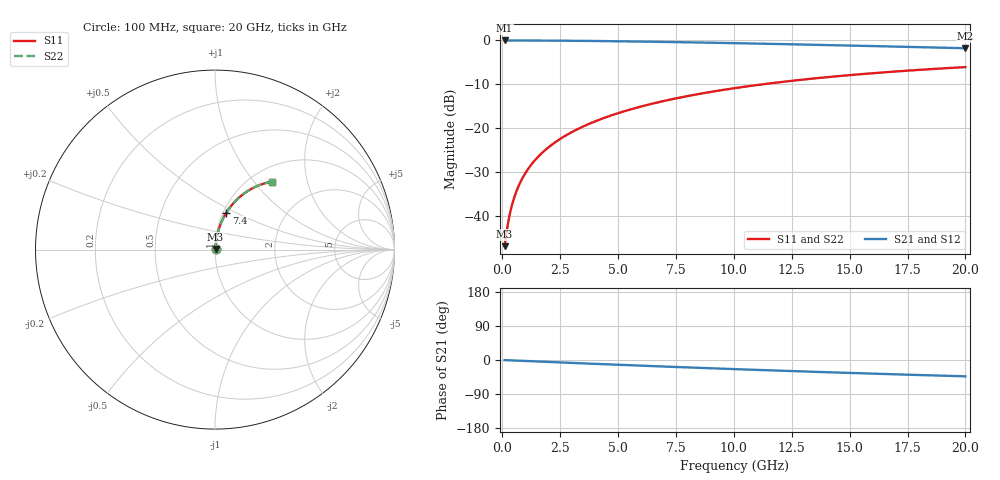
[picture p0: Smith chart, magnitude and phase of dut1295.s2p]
! Touchstone file exported from HFSS 2024.1.0
!  File:  C:/UserFiles/LocalFiles/RDL_TSV_Batchsim/temp_RDL_top_1295_1780243065.aedt
!  Generated:  12:00:11 AM Jun  1, 2026
!  Design:  RDL_top
!  Project:  temp_RDL_top_1295_1780243065
!  Setup:  Setup1
!  Solution:  Sweep
! Variables:
!  dtsv = 10.80580581um
!  hbump = 3um
!  htsv = 84.29um
!  ldown = 100um
!  lrdl = 533.82um
!  p = 40
!  p1 = 57.93um
!  rhole = 1um
!  t = 450um
!  tdown = 3.915915916um
!  trdl = 4.94um
!  wdown = 15.38538539um
!  wrdl = 11.58um
# GHz S MA R 50.000000
! Terminal data exported
! Port[1] = Box2_T1
! Port[2] = Box2_T2
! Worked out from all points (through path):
!   200 points, 100 MHz to 20 GHz, reference 50 ohm
!   highest |S21| = -0.03 dB at 100 MHz (marker M1); lowest = -1.8 dB at 20 GHz (marker M2)
!   group delay of S21, straight-line fit = 5.98 ps
!   lowest |S11| = -46.8 dB at 100 MHz (marker M3), VSWR 1.01, Z = 50.3 + j0.312 ohm
!   |S11| at or under -10 dB: start of sweep to 11.24 GHz
!   |S22| runs from -46.8 to -6.1 dB; largest |S21 - S12| = 3.3e-15
!   S11 on the Smith chart (normalised r, x): 100 MHz: 1.01, +0.01; 7.4 GHz: 1.04, +0.45; 20 GHz: 1.24, +1.25
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0.1  0.004566 42.7  0.9966 -0.3  0.9966 -0.3  0.004566 42.7
! Gamma 0 0 0 0
! Port Impedance 50 0 50 0
0.2  0.007061 61.2  0.9966 -0.5  0.9966 -0.5  0.007062 61.2
0.3  0.009906 69.4  0.9965 -0.8  0.9965 -0.8  0.009906 69.4
0.4  0.01286 73.8  0.9964 -1.0  0.9964 -1.0  0.01287 73.8
0.5  0.01587 76.4  0.9962 -1.3  0.9962 -1.3  0.01587 76.4
0.6  0.01889 78.1  0.9961 -1.6  0.9961 -1.6  0.01889 78.1
0.8  0.02495 80.1  0.9957 -2.1  0.9957 -2.1  0.02495 80.1
1.1  0.03402 81.4  0.9952 -2.8  0.9952 -2.8  0.03402 81.4
1.5  0.04601 81.9  0.9942 -3.9  0.9942 -3.9  0.04601 81.9
1.8  0.05496 81.9  0.9933 -4.6  0.9933 -4.6  0.05495 81.9
2.1  0.06386 81.8  0.9923 -5.4  0.9923 -5.4  0.06386 81.8
2.7  0.08158 81.2  0.9898 -6.9  0.9898 -6.9  0.08158 81.2
3.5  0.105 80.0  0.9857 -8.9  0.9857 -8.9  0.105 80.0
4.2  0.1254 78.9  0.9814 -10.6  0.9814 -10.6  0.1254 78.9
5  0.1485 77.5  0.9758 -12.6  0.9758 -12.6  0.1485 77.5
6.8  0.1994 74.1  0.961 -16.9  0.961 -16.9  0.1994 74.1
7.4  0.216 72.9  0.9555 -18.2  0.9555 -18.2  0.216 72.9
8.7  0.2511 70.4  0.9428 -21.2  0.9428 -21.2  0.2511 70.4
10.1  0.2876 67.7  0.9282 -24.2  0.9282 -24.2  0.2876 67.7
13.4  0.3672 61.3  0.891 -31.0  0.891 -31.0  0.3672 61.4
16.7  0.4368 55.4  0.852 -37.3  0.852 -37.3  0.4369 55.4
20  0.4962 49.8  0.813 -43.1  0.813 -43.1  0.4963 49.8
